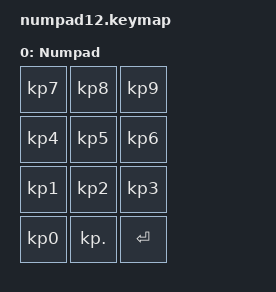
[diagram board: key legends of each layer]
/*
 * numpad12 键位表
 *
 * bindings 的顺序必须和 numpad12.overlay 里 input-gpios 的顺序一一对应。
 */

#include <behaviors.dtsi>
#include <dt-bindings/zmk/keys.h>

/ {
    keymap {
        compatible = "zmk,keymap";

        default_layer {
            display-name = "Numpad";
            bindings = <
                &kp KP_N7   &kp KP_N8  &kp KP_N9
                &kp KP_N4   &kp KP_N5  &kp KP_N6
                &kp KP_N1   &kp KP_N2  &kp KP_N3
                &kp KP_N0   &kp KP_DOT &kp RET
            >;
        };
    };
};
